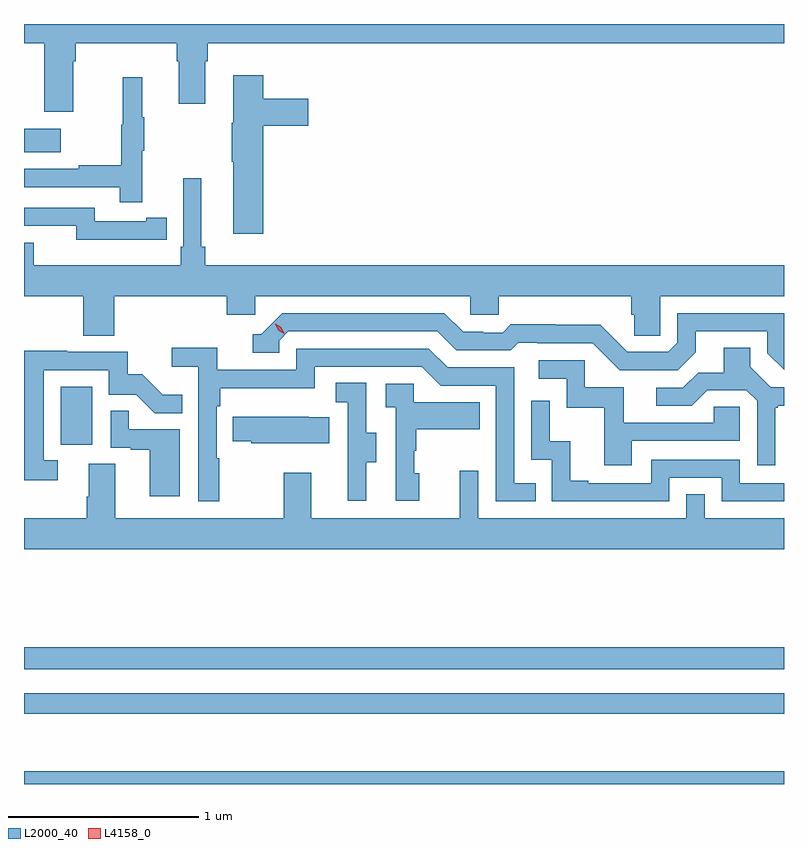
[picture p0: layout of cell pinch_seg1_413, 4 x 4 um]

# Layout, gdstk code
import gdstk
lib = gdstk.Library(unit=1e-6, precision=1e-09)
def R(c, l, rs):  # rectangles x0, y0, x1, y1
    for r in rs: c.add(gdstk.rectangle(r[:2], r[2:], *l))
def P(c, l, *ps):  # polygons
    for p in ps: c.add(gdstk.Polygon(p, *l))
L2000_40 = (2000, 40)
L4158_0 = (4158, 0)

pinch_seg1_413 = lib.new_cell('pinch_seg1_413')
R(pinch_seg1_413, L2000_40, [(912.6,527.853,916.6,527.92), (912.6,528.222,916.6,528.33), (912.6,528.456,916.6,528.572), (912.794,529.638,912.958,529.945), (912.6,531.179,912.793,531.301)])
P(pinch_seg1_413, L2000_40, [(912.859,531.656),(912.872,531.656),(912.872,531.752),(913.403,531.752),(913.403,531.656),(913.415,531.656),(913.415,531.432),(913.555,531.432),(913.555,531.656),(913.568,531.656),(913.568,531.752),(916.6,531.752),(916.6,531.853),(912.6,531.853),(912.6,531.752),(912.707,531.752),(912.707,531.39),(912.859,531.39)],
  [(913.859,531.317),(914.095,531.317),(914.095,531.459),(913.859,531.459),(913.859,531.583),(913.7,531.583),(913.7,531.333),(913.693,531.333),(913.693,531.127),(913.7,531.127),(913.7,530.748),(913.859,530.748)],
  [(913.223,531.187),(913.234,531.187),(913.234,531.361),(913.223,531.361),(913.223,531.574),(913.12,531.574),(913.12,531.324),(913.113,531.324),(913.113,531.11),(912.889,531.11),(912.889,531.09),(912.6,531.09),(912.6,530.994),(913.105,530.994),(913.105,530.916),(913.223,530.916)],
  [(913.076,530.42),(913.667,530.42),(913.667,530.322),(913.818,530.322),(913.818,530.42),(914.949,530.42),(914.949,530.322),(915.099,530.322),(915.099,530.42),(915.797,530.42),(915.797,530.322),(915.811,530.322),(915.811,530.212),(915.948,530.212),(915.948,530.42),(916.6,530.42),(916.6,530.584),(913.553,530.584),(913.553,530.68),(913.534,530.68),(913.534,531.04),(913.437,531.04),(913.437,530.68),(913.424,530.68),(913.424,530.584),(912.652,530.584),(912.652,530.701),(912.6,530.701),(912.6,530.42),(912.911,530.42),(912.911,530.212),(913.076,530.212)],
  [(913.244,530.718),(913.352,530.718),(913.352,530.834),(913.244,530.834),(913.244,530.814),(912.972,530.814),(912.972,530.886),(912.6,530.886),(912.6,530.79),(912.876,530.79),(912.876,530.717),(913.244,530.717)],
  [(916.135,530.125),(916.135,530.235),(916.512,530.235),(916.512,530.121),(916.6,530.033),(916.6,530.331),(916.038,530.331),(916.038,530.175),(915.99,530.127),(915.774,530.127),(915.632,530.269),(915.396,530.269),(915.396,530.272),(915.163,530.272),(915.121,530.229),(915.018,530.229),(915.018,530.232),(914.911,530.232),(914.812,530.331),(913.959,530.331),(913.848,530.22),(913.805,530.22),(913.805,530.124),(913.944,530.124),(913.944,530.187),(913.992,530.235),(914.775,530.235),(914.874,530.136),(915.163,530.136),(915.202,530.175),(915.301,530.175),(915.301,530.172),(915.594,530.172),(915.735,530.031),(916.041,530.031)],
  [(913.627,529.568),(913.614,529.568),(913.614,529.841),(913.634,529.841),(913.634,529.937),(914.13,529.937),(914.13,530.049),(914.694,530.049),(914.793,529.95),(915.084,529.95),(915.084,529.341),(915.293,529.341),(915.293,529.437),(915.18,529.437),(915.18,530.046),(914.83,530.046),(914.731,530.145),(914.034,530.145),(914.034,530.034),(913.616,530.034),(913.616,530.15),(913.377,530.15),(913.377,530.048),(913.518,530.048),(913.518,529.341),(913.627,529.341)],
  [(916.555,529.833),(916.567,529.833),(916.567,529.844),(916.6,529.844),(916.6,529.941),(916.53,529.941),(916.423,530.048),(916.423,530.15),(916.283,530.15),(916.283,530.018),(916.148,530.018),(916.068,529.938),(915.927,529.938),(915.927,529.845),(916.114,529.845),(916.195,529.926),(916.401,529.926),(916.458,529.869),(916.458,529.53),(916.555,529.53)],
  [(912.778,529.557),(912.705,529.557),(912.705,530.031),(913.047,530.031),(913.047,529.902),(913.191,529.902),(913.289,529.804),(913.433,529.804),(913.433,529.903),(913.329,529.903),(913.222,530.01),(913.146,530.01),(913.146,530.127),(912.827,530.127),(912.827,530.132),(912.6,530.132),(912.6,529.452),(912.778,529.452)],
  [(915.799,529.659),(916.368,529.659),(916.368,529.839),(916.231,529.839),(916.231,529.755),(915.757,529.755),(915.757,529.941),(915.552,529.941),(915.552,530.082),(915.309,530.082),(915.309,529.986),(915.456,529.986),(915.456,529.833),(915.655,529.833),(915.655,529.53),(915.799,529.53)],
  [(914.401,529.546),(914.455,529.546),(914.455,529.701),(914.4,529.701),(914.4,529.964),(914.241,529.964),(914.241,529.861),(914.304,529.861),(914.304,529.557),(914.303,529.557),(914.303,529.344),(914.401,529.344)],
  [(914.68,529.488),(914.655,529.488),(914.655,529.607),(914.665,529.607),(914.665,529.721),(914.999,529.721),(914.999,529.861),(914.652,529.861),(914.652,529.959),(914.505,529.959),(914.505,529.835),(914.556,529.835),(914.556,529.344),(914.68,529.344)],
  [(915.996,529.464),(916.272,529.464),(916.272,529.341),(916.6,529.341),(916.6,529.437),(916.368,529.437),(916.368,529.56),(915.9,529.56),(915.9,529.437),(915.571,529.437),(915.571,529.45),(915.476,529.45),(915.476,529.658),(915.366,529.658),(915.366,529.87),(915.27,529.87),(915.27,529.56),(915.378,529.56),(915.378,529.341),(915.996,529.341)],
  [(913.42,529.719),(913.151,529.719),(913.151,529.817),(913.056,529.817),(913.056,529.623),(913.163,529.623),(913.163,529.611),(913.262,529.611),(913.262,529.368),(913.42,529.368)],
  [(914.207,529.783),(914.099,529.783),(914.099,529.786),(913.699,529.786),(913.699,529.657),(913.797,529.657),(913.797,529.646),(914.207,529.646)],
  [(916.6,529.252),(916.182,529.252),(916.182,529.379),(916.086,529.379),(916.086,529.252),(914.991,529.252),(914.991,529.501),(914.894,529.501),(914.894,529.252),(914.113,529.252),(914.113,529.492),(913.966,529.492),(913.966,529.252),(913.081,529.252),(913.081,529.538),(912.941,529.538),(912.941,529.364),(912.929,529.364),(912.929,529.252),(912.6,529.252),(912.6,529.088),(916.6,529.088)])
P(pinch_seg1_413, L4158_0, [(913.97,530.223),(913.939,530.242),(913.923,530.275),(913.923,530.275),(913.923,530.275),(913.954,530.256),(913.97,530.223),(913.97,530.223)])

lib.write_gds('pinch_seg1_413.gds')
